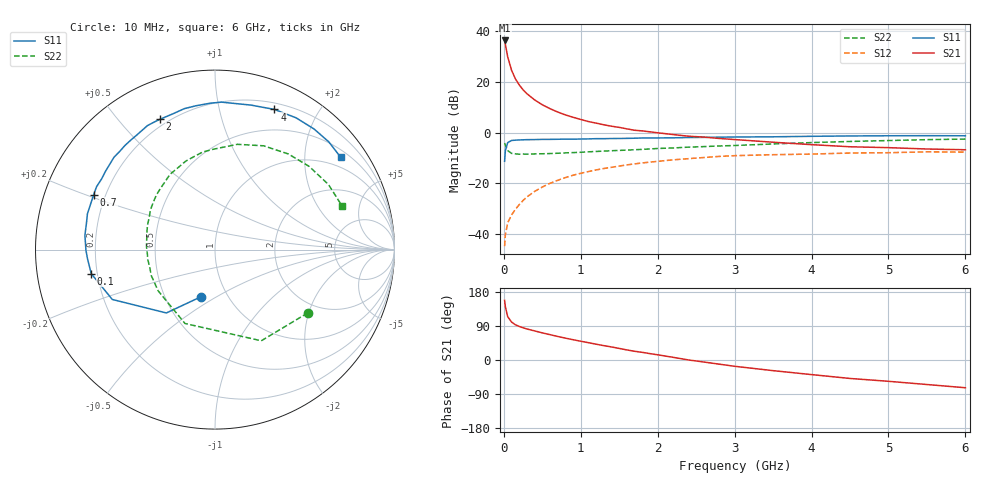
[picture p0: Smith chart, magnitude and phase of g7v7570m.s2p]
! SIEMENS Small Signal Semiconductors
! BFG196
! Si NPN RF Bipolar Junction Transistor in SOT223
! VCE = 0.75 V  IC = 70 mA
! Common Emitter S-Parameters:  August  1996
# GHz  S  MA  R  50
!  f  S11  S21  S12  S22
! GHz  MAG  ANG  MAG  ANG  MAG  ANG  MAG  ANG
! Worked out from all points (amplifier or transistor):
!   36 points, 10 MHz to 6 GHz, reference 50 ohm
!   highest |S21| = 36.4 dB at 10 MHz (marker M1)
!   |S21| within 3 dB of that: start of sweep to 28.63 MHz
!   unconditionally stable (mu >= 1): 217.5 MHz to end of sweep
!   at 250 MHz: K = 1.02, MAG = 21.0 dB, |S12| = -26.7 dB
!   at 1.4 GHz: K = 1.06, MAG = 6.6 dB, |S12| = -13.7 dB
!   at 6 GHz: K = 1.01, MAG = -0.2 dB, |S12| = -7.7 dB
!   S11 on the Smith chart (normalised r, x): 10 MHz: 0.75, -0.43; 100 MHz: 0.18, -0.09; 700 MHz: 0.15, +0.21; 2 GHz: 0.17, +0.65; 4 GHz: 0.27, +1.48; 6 GHz: 0.69, +2.89
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0.01  0.273 -106.3  65.72 157.3  0.0058 70.4  0.6258 -34.3
0.02  0.445 -127.5  54.56 140.4  0.0097 61.1  0.5697 -63.1
0.05  0.6361 -154.1  31.36 114.4  0.0167 53.3  0.4443 -112.1
0.1  0.7024 -169.0  17.07 100.2  0.0239 58.4  0.3913 -144.1
0.15  0.7122 -175.9  11.54 93.0  0.0308 61.0  0.3833 -158.0
0.2  0.7191 -179.8  8.75 88.6  0.0382 64.2  0.3762 -165.5
0.25  0.7236 176.5  7.003 85.0  0.0462 65.6  0.3789 -171.6
0.3  0.7292 173.8  5.87 81.9  0.0541 65.9  0.3774 -175.3
0.4  0.7308 168.7  4.429 76.8  0.0696 66.0  0.382 177.6
0.5  0.7382 164.3  3.551 71.6  0.0849 64.1  0.3841 172.3
0.6  0.7381 159.9  2.973 66.9  0.1005 62.3  0.388 168.1
0.7  0.742 155.6  2.557 62.1  0.1152 60.4  0.3936 164.1
0.9  0.7445 148.1  2.013 53.6  0.145 55.3  0.405 155.9
1.1  0.7543 141.3  1.657 45.7  0.1714 50.5  0.4195 149.4
1.6  0.7727 124.5  1.188 26.6  0.2322 37.0  0.4539 132.9
2  0.7882 112.9  0.995 13.7  0.2725 26.3  0.4888 120.8
2.2  0.7918 107.4  0.919 7.1  0.2916 21.0  0.4997 114.7
3.5  0.8296 76.1  0.649 -28.1  0.3682 -12.6  0.5997 78.0
4  0.8483 67.0  0.581 -38.5  0.3789 -21.9  0.6386 64.9
4.5  0.862 58.4  0.528 -48.7  0.3973 -31.3  0.6715 52.5
5.5  0.8731 43.4  0.477 -64.7  0.4191 -52.6  0.7289 29.8
6  0.8688 36.4  0.461 -73.2  0.4141 -64.5  0.748 19.1
